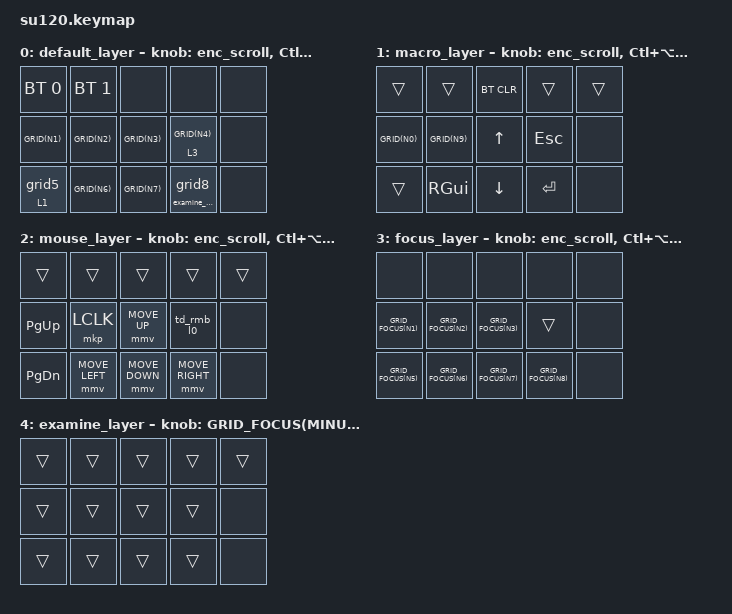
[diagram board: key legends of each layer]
#include <behaviors.dtsi>
#include <dt-bindings/zmk/keys.h>
#include <dt-bindings/zmk/bt.h>
#include <dt-bindings/zmk/mouse.h>
#include <dt-bindings/zmk/pointing.h>

#define GRID(n) LC(LA(LG(n)))
#define GRID_FOCUS(n) LC(LA(LG(LS(n))))

/ {
    macros {
        grid5: grid5 {
            compatible = "zmk,behavior-macro";
            #binding-cells = <0>;
            bindings = <&macro_press &kp LCTRL &kp LALT &kp LGUI>
                     , <&macro_tap &kp N5>
                     , <&macro_release &kp LGUI &kp LALT &kp LCTRL>;
        };

        grid8: grid8 {
            compatible = "zmk,behavior-macro";
            #binding-cells = <0>;
            bindings = <&macro_press &kp LCTRL &kp LALT &kp LGUI>
                     , <&macro_tap &kp N8>
                     , <&macro_release &kp LGUI &kp LALT &kp LCTRL>;
        };

        /* Hold: send examine-enter signal + activate layer 4
           Release: deactivate layer 4 + send examine-exit signal */
        examine_macro: examine_macro {
            compatible = "zmk,behavior-macro";
            #binding-cells = <0>;
            bindings = <&macro_tap &kp GRID_FOCUS(F1)>
                     , <&macro_press &mo 4>
                     , <&macro_pause_for_release>
                     , <&macro_release &mo 4>
                     , <&macro_tap &kp GRID_FOCUS(F2)>;
        };
    };

    behaviors {
        /* Encoder mouse-scroll. msc is a continuous input device: speed
           (the binding param) × trigger_period_ms / 1000 = units emitted
           per ~16ms tick. We aim for ~1 wheel unit per encoder detent so
           macOS scroll-acceleration doesn't blow up. speed 90 ⇒ ~1.4/tick;
           tap-ms 18 lets exactly one tick fire per detent. */
        enc_scroll: enc_scroll {
            compatible = "zmk,behavior-sensor-rotate";
            #sensor-binding-cells = <0>;
            bindings = <&msc MOVE_Y(-90)>, <&msc MOVE_Y(90)>;
            tap-ms = <18>;
        };

        /* Hold = momentary layer 1, Tap = grid(5) aka Ctrl+Alt+Cmd+5 */
        ht_l1_g5: ht_l1_g5 {
            compatible = "zmk,behavior-hold-tap";
            #binding-cells = <2>;
            tapping-term-ms = <200>;
            bindings = <&mo>, <&grid5>;
        };

        /* Hold = momentary focus layer 3, Tap = grid(4) */
        ht_l3_g4: ht_l3_g4 {
            compatible = "zmk,behavior-hold-tap";
            #binding-cells = <2>;
            tapping-term-ms = <200>;
            bindings = <&mo>, <&kp>;
        };

        /* Hold = examine macro (layer 4 + signals), Tap = grid(8) */
        ht_exam_g8: ht_exam_g8 {
            compatible = "zmk,behavior-hold-tap";
            #binding-cells = <2>;
            tapping-term-ms = <200>;
            bindings = <&examine_macro>, <&grid8>;
        };

        /* Single/double tap = grid(4), triple tap = toggle layer 2 */
        td_g4_l2: td_g4_l2 {
            compatible = "zmk,behavior-tap-dance";
            #binding-cells = <0>;
            tapping-term-ms = <300>;
            bindings = <&kp GRID(N4)>, <&kp GRID(N4)>, <&tog 2>;
        };

        /* Single/double tap = right click, triple tap = toggle layer 2 off */
        td_rmb_l0: td_rmb_l0 {
            compatible = "zmk,behavior-tap-dance";
            #binding-cells = <0>;
            tapping-term-ms = <300>;
            bindings = <&mkp RCLK>, <&mkp RCLK>, <&tog 2>;
        };
    };

    keymap {
        compatible = "zmk,keymap";

        default_layer {
            // -----------------------------------------------
            // | BT1  | BT2  |       |      |      |
            // | G(1) | G(2) | G(3)  | HF4  |      |
            // | HG5  | G(6) | G(7)  | HE8  |      |
            // -----------------------------------------------
            // Left encoder: HID scroll (iPhone & Mac)    Right encoder: Hammerspoon scroll (Mac only)
            // Hold HF4 = focus layer, Tap = grid(4)
            // Hold HE8 = examine layer, Tap = grid(8)
            // BT_CLR moved to macro_layer (hold bottom-left)
            bindings = <
                &bt BT_SEL 0   &bt BT_SEL 1    &none            &none        &none
                &kp GRID(N1)   &kp GRID(N2)    &kp GRID(N3)     &ht_l3_g4 3 GRID(N4) &none
                &ht_l1_g5 1 0  &kp GRID(N6)    &kp GRID(N7)     &ht_exam_g8 0 0 &none
            >;
            sensor-bindings = <&enc_scroll &inc_dec_kp LC(LA(LG(UP))) LC(LA(LG(DOWN)))>;
        };

        macro_layer {
            // -----------------------------------------------
            // |      |      | BTCLR |      |      |
            // | G(0) | G(9) |  UP   | ESC  |      |
            // | ---- | RGUI | DOWN  | RET  |      |
            // -----------------------------------------------
            bindings = <
                &trans          &trans          &bt BT_CLR       &trans       &trans
                &kp GRID(N0)   &kp GRID(N9)   &kp UP           &kp ESC      &none
                &trans          &kp RGUI        &kp DOWN         &kp RET      &none
            >;
            sensor-bindings = <&enc_scroll &inc_dec_kp LC(LA(LG(UP))) LC(LA(LG(DOWN)))>;
        };

        mouse_layer {
            // -----------------------------------------------
            // |      |      |       |      |      |
            // | PGUP | LMB  | MS_UP | TDRMB|      |
            // | PGDN | MS_L | MS_DN | MS_R |      |
            // -----------------------------------------------
            bindings = <
                &trans         &trans          &trans            &trans       &trans
                &kp PG_UP      &mkp LCLK      &mmv MOVE_UP     &td_rmb_l0   &none
                &kp PG_DN      &mmv MOVE_LEFT  &mmv MOVE_DOWN   &mmv MOVE_RIGHT &none
            >;
            sensor-bindings = <&enc_scroll &inc_dec_kp LC(LA(LG(UP))) LC(LA(LG(DOWN)))>;
        };

        focus_layer {
            // -----------------------------------------------
            // |      |      |       |      |      |
            // | F(1) | F(2) | F(3)  | ---- |      |
            // | F(5) | F(6) | F(7)  | F(8) |      |
            // -----------------------------------------------
            // Focus window at grid position (Ctrl+Alt+Cmd+Shift+N)
            bindings = <
                &none                  &none                  &none                  &none  &none
                &kp GRID_FOCUS(N1)     &kp GRID_FOCUS(N2)     &kp GRID_FOCUS(N3)     &trans &none
                &kp GRID_FOCUS(N5)     &kp GRID_FOCUS(N6)     &kp GRID_FOCUS(N7)     &kp GRID_FOCUS(N8) &none
            >;
            sensor-bindings = <&enc_scroll &inc_dec_kp LC(LA(LG(UP))) LC(LA(LG(DOWN)))>;
        };

        examine_layer {
            // -----------------------------------------------
            // |      |      |       |      |      |
            // |  --  |  --  |  --   | ---- |      |
            // |  --  |  --  |  --   | ---- |      |
            // -----------------------------------------------
            // Grid keys pass through to layer 0 (Hammerspoon checks examine mode)
            // Left encoder: zoom (Ctrl+Alt+Cmd+Shift+minus/equal)
            // Right encoder: scroll (same as default)
            bindings = <
                &trans         &trans          &trans           &trans       &trans
                &trans         &trans          &trans           &trans       &none
                &trans         &trans          &trans           &trans       &none
            >;
            sensor-bindings = <&inc_dec_kp GRID_FOCUS(MINUS) GRID_FOCUS(EQUAL) &inc_dec_kp LC(LA(LG(UP))) LC(LA(LG(DOWN)))>;
        };
    };
};
